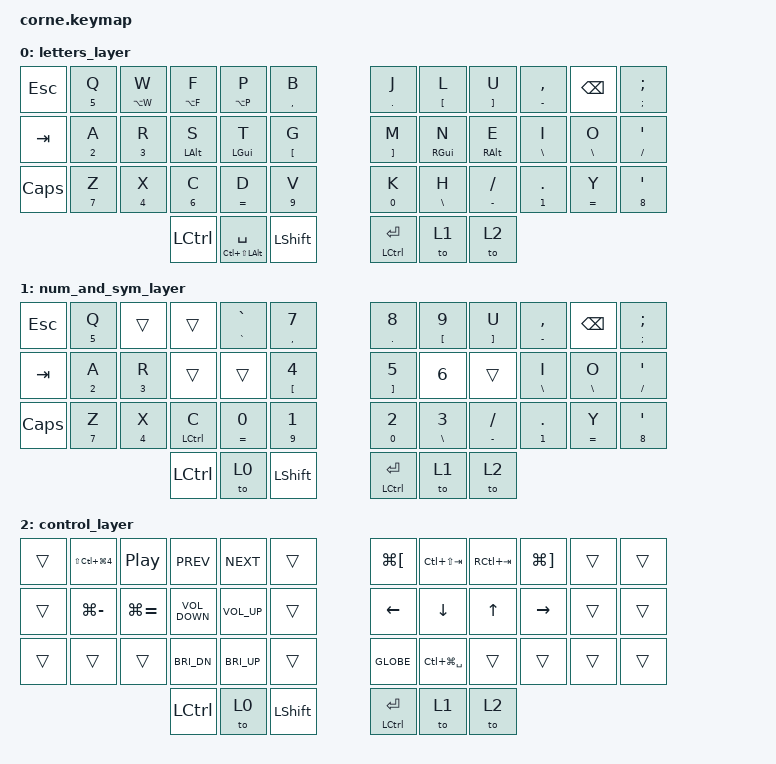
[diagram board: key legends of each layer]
/*
 * Copyright (c) 2020 The ZMK Contributors
 *
 * SPDX-License-Identifier: MIT
 */

#include <behaviors.dtsi>
#include <dt-bindings/zmk/keys.h>

&mt {
    flavor = "tap-preferred";
    tapping_term_ms = <200>;
};

/ {
    macros {
        shifted: shifted {
            compatible = "zmk,behavior-macro-one-param";
            #binding-cells = <1>;
            bindings =
                <&macro_press>,
                <&kp LSHFT &macro_param_1to1>,
                <&macro_tap>,
                <&kp MACRO_PLACEHOLDER>,
                <&macro_release>,
                <&kp LSHFT>;
        };
    };

    behaviors {
        hm: homerow_mods {
            compatible = "zmk,behavior-hold-tap";
            label = "HOMEROW_MODS";
            #binding-cells = <2>;
            tapping-term-ms = <200>;
            quick_tap_ms = <0>;
            flavor = "tap-preferred";
            bindings = <&kp>, <&kp>;
        };

        td: tapdance {
            compatible = "zmk,behavior-hold-tap";
            label = "TAPDANCE";
            #binding-cells = <2>;
            tapping-term-ms = <200>;
            quick_tap_ms = <0>;
            flavor = "tap-preferred";
            bindings = <&kp>, <&kp>;
        };

        td_sym: td_sym {
            compatible = "zmk,behavior-hold-tap";
            label = "TD_SYM";
            #binding-cells = <2>;
            tapping-term-ms = <200>;
            quick_tap_ms = <0>;
            flavor = "tap-preferred";
            bindings = <&shifted>, <&kp>;
        };

        td_both: td_both {
            compatible = "zmk,behavior-hold-tap";
            label = "TD_BOTH";
            #binding-cells = <2>;
            tapping-term-ms = <200>;
            quick_tap_ms = <0>;
            flavor = "tap-preferred";
            bindings = <&shifted>, <&shifted>;
        };
    };

    keymap {
        compatible = "zmk,keymap";

        letters_layer {
            bindings = <
&kp ESCAPE    &td_sym N5 Q  &td LA(W) W   &td LA(F) F       &td LA(P) P             &td_sym COMMA B           &td_sym DOT J            &td LEFT_BRACKET L  &td RIGHT_BRACKET U  &td MINUS COMMA  &kp BACKSPACE        &td_sym SEMI SEMI
&kp TAB       &td_sym N2 A  &td_sym N3 R  &hm LALT S        &hm LGUI T              &td_sym LEFT_BRACKET G    &td_sym RIGHT_BRACKET M  &hm RGUI N          &hm RALT E           &td BACKSLASH I  &td_sym BACKSLASH O  &td_sym SLASH SQT
&kp CAPSLOCK  &td_sym N7 Z  &td_sym N4 X  &td_sym N6 C      &td_sym EQUAL D         &td_sym N9 V              &td_sym N0 K             &td_sym BACKSLASH H  &td_sym MINUS SLASH  &td_sym N1 DOT   &td EQUAL Y          &td_both N8 SQT
                                          &kp LEFT_CONTROL  &mt LC(LS(LALT)) SPACE  &kp LEFT_SHIFT            &mt LEFT_CONTROL RET     &to 1               &to 2
            >;
        };

        num_and_sym_layer {
            bindings = <
&kp ESCAPE  &td_sym N5 Q  &trans        &trans            &td_sym GRAVE GRAVE  &td_sym COMMA N7           &td_sym DOT N8            &td LEFT_BRACKET N9  &td RIGHT_BRACKET U  &td MINUS COMMA  &kp BACKSPACE        &td_sym SEMI SEMI
&kp TAB     &td_sym N2 A  &td_sym N3 R  &trans            &trans               &td_sym LEFT_BRACKET N4    &td_sym RIGHT_BRACKET N5  &kp N6               &trans               &td BACKSLASH I  &td_sym BACKSLASH O  &td_sym SLASH SQT
&kp CAPS    &td_sym N7 Z  &td_sym N4 X  &td LCTRL C       &td_sym EQUAL N0     &td_sym N9 N1              &td_sym N0 N2             &td_sym BACKSLASH N3 &td_sym MINUS SLASH  &td_sym N1 DOT   &td EQUAL Y          &td_both N8 SQT
                                        &kp LEFT_CONTROL  &to 0                &kp LEFT_SHIFT             &mt LEFT_CONTROL RET      &to 1                &to 2
            >;
        };

        control_layer {
            bindings = <
&trans  &kp LS(LC(LG(NUMBER_4)))  &kp C_PLAY_PAUSE  &kp C_PREV         &kp C_NEXT       &trans            &kp LG(LBKT)          &kp LC(LS(TAB))    &kp RC(TAB)   &kp LG(RBKT)  &trans  &trans
&trans  &kp LG(MINUS)             &kp LG(EQUAL)  &kp K_VOLUME_DOWN  &kp K_VOLUME_UP  &trans            &kp LEFT_ARROW        &kp DOWN           &kp UP_ARROW  &kp RIGHT     &trans  &trans
&trans  &trans                    &trans            &kp C_BRI_DN       &kp C_BRI_UP     &trans            &kp GLOBE             &kp LC(LG(SPACE))  &trans        &trans        &trans  &trans
                                                    &kp LEFT_CONTROL   &to 0            &kp LEFT_SHIFT    &mt LEFT_CONTROL RET  &to 1              &to 2
            >;
        };
    };
};
